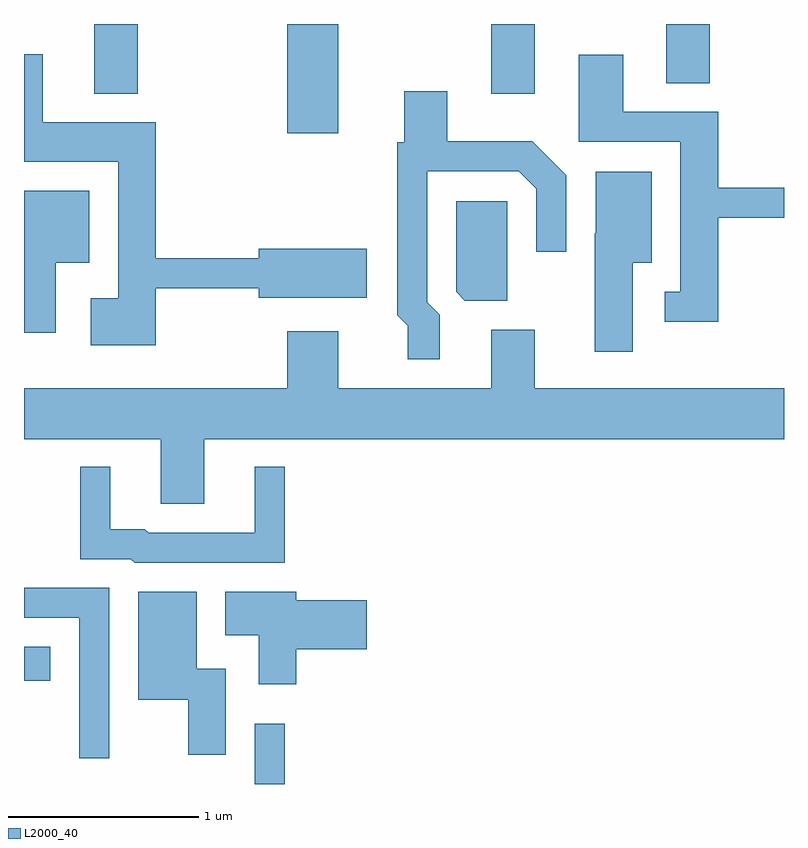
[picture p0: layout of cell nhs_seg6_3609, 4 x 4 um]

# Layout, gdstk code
import gdstk
lib = gdstk.Library(unit=1e-6, precision=1e-09)
def R(c, l, rs):  # rectangles x0, y0, x1, y1
    for r in rs: c.add(gdstk.rectangle(r[:2], r[2:], *l))
def P(c, l, *ps):  # polygons
    for p in ps: c.add(gdstk.Polygon(p, *l))
L2000_40 = (2000, 40)

nhs_seg6_3609 = lib.new_cell('nhs_seg6_3609')
R(nhs_seg6_3609, L2000_40, [(294.826,1608.162,294.984,1608.478), (293.611,1608.706,293.749,1608.884), (294.996,1611.586,295.264,1612.162), (293.981,1611.796,294.209,1612.162), (296.071,1611.796,296.299,1612.162), (296.991,1611.851,297.219,1612.162)])
P(nhs_seg6_3609, L2000_40, [(294.304,1610.771),(294.846,1610.771),(294.846,1610.721),(295.414,1610.721),(295.414,1610.979),(294.846,1610.979),(294.846,1610.929),(294.304,1610.929),(294.304,1611.644),(293.709,1611.644),(293.709,1612.004),(293.611,1612.004),(293.611,1611.436),(294.106,1611.436),(294.106,1610.719),(293.961,1610.719),(293.961,1610.471),(294.304,1610.471)],
  [(297.264,1611.141),(297.611,1611.141),(297.611,1611.299),(297.264,1611.299),(297.264,1611.699),(296.764,1611.699),(296.764,1611.999),(296.531,1611.999),(296.531,1611.541),(297.066,1611.541),(297.066,1610.754),(296.983,1610.754),(296.983,1610.596),(297.264,1610.596)],
  [(295.799,1610.632),(295.734,1610.697),(295.734,1611.386),(296.214,1611.386),(296.306,1611.294),(296.306,1610.963),(296.464,1610.963),(296.464,1611.367),(296.287,1611.544),(295.839,1611.544),(295.839,1611.809),(295.611,1611.809),(295.611,1611.539),(295.576,1611.539),(295.576,1610.629),(295.631,1610.574),(295.631,1610.398),(295.799,1610.398)],
  [(296.814,1610.906),(296.914,1610.906),(296.914,1611.384),(296.621,1611.384),(296.621,1611.06),(296.616,1611.06),(296.616,1610.436),(296.814,1610.436)],
  [(293.779,1610.906),(293.954,1610.906),(293.954,1611.284),(293.611,1611.284),(293.611,1610.536),(293.779,1610.536)],
  [(296.154,1611.229),(295.886,1611.229),(295.886,1610.752),(295.932,1610.706),(296.154,1610.706)],
  [(294.559,1609.976),(297.611,1609.976),(297.611,1610.244),(296.299,1610.244),(296.299,1610.554),(296.071,1610.554),(296.071,1610.244),(295.264,1610.244),(295.264,1610.544),(294.996,1610.544),(294.996,1610.244),(293.611,1610.244),(293.611,1609.976),(294.331,1609.976),(294.331,1609.636),(294.559,1609.636)],
  [(294.984,1609.833),(294.826,1609.833),(294.826,1609.484),(294.267,1609.484),(294.247,1609.504),(294.064,1609.504),(294.064,1609.833),(293.906,1609.833),(293.906,1609.346),(294.174,1609.346),(294.194,1609.326),(294.984,1609.326)],
  [(294.059,1609.194),(293.611,1609.194),(293.611,1609.036),(293.901,1609.036),(293.901,1608.298),(294.059,1608.298)],
  [(295.044,1608.871),(295.414,1608.871),(295.414,1609.129),(295.044,1609.129),(295.044,1609.174),(294.671,1609.174),(294.671,1608.946),(294.846,1608.946),(294.846,1608.686),(295.044,1608.686)],
  [(294.674,1608.769),(294.519,1608.769),(294.519,1609.174),(294.211,1609.174),(294.211,1608.606),(294.476,1608.606),(294.476,1608.316),(294.674,1608.316)])

lib.write_gds('nhs_seg6_3609.gds')
